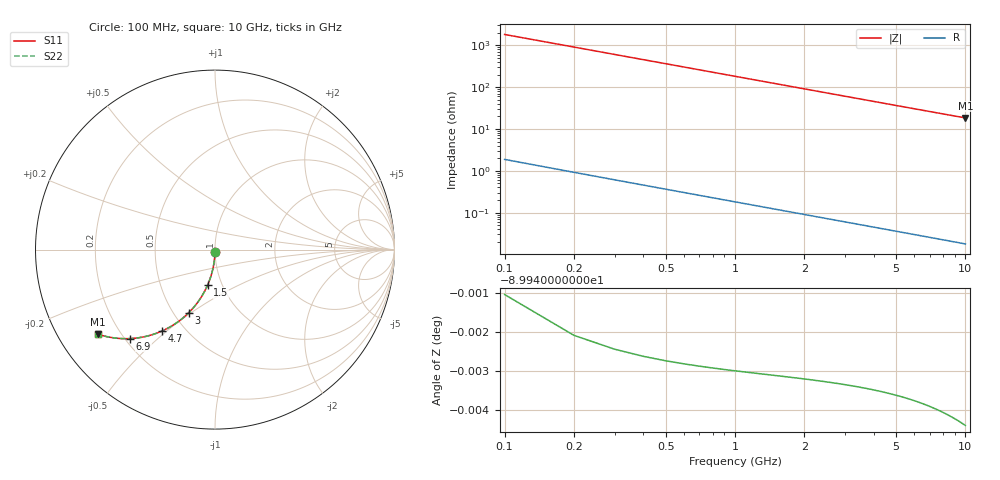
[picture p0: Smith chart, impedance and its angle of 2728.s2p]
# Hz S RI R 50.00
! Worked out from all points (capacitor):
!   100 points, 100 MHz to 10 GHz, reference 50 ohm
!   read as one part in shunt: C = 875 fF near 100 MHz
!   lowest |Z| = 18.4 ohm at 10 GHz (marker M1)
!   S11 on the Smith chart (normalised r, x): 100 MHz: 1.00, -0.03; 1.5 GHz: 0.85, -0.35; 3 GHz: 0.60, -0.49; 4.7 GHz: 0.38, -0.48; 6.9 GHz: 0.22, -0.41; 10 GHz: 0.12, -0.32
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1e8  -0.000184 -0.0137  0.9998 -0.0138  0.9998 -0.0138  -0.000184 -0.0137
2e8  -0.000764 -0.0274  0.9992 -0.0276  0.9992 -0.0276  -0.000764 -0.0274
3e8  -0.00172 -0.041  0.9982 -0.0413  0.9982 -0.0413  -0.00172 -0.041
4e8  -0.00305 -0.0546  0.9969 -0.055  0.9969 -0.055  -0.00305 -0.0546
5e8  -0.00475 -0.0682  0.9952 -0.0686  0.9952 -0.0686  -0.00475 -0.0682
6e8  -0.00682 -0.0816  0.9931 -0.0822  0.9931 -0.0822  -0.00682 -0.0816
7e8  -0.00925 -0.095  0.9907 -0.0956  0.9907 -0.0956  -0.00925 -0.095
9e8  -0.0152 -0.1214  0.9848 -0.1222  0.9848 -0.1222  -0.0152 -0.1214
1.2e9  -0.0266 -0.16  0.9733 -0.161  0.9733 -0.161  -0.0266 -0.16
1.5e9  -0.0409 -0.197  0.959 -0.1983  0.959 -0.1983  -0.0409 -0.197
1.8e9  -0.0578 -0.2322  0.9421 -0.2337  0.9421 -0.2337  -0.0578 -0.2322
2.4e9  -0.0982 -0.2961  0.9017 -0.2982  0.9017 -0.2982  -0.0982 -0.2961
3e9  -0.1453 -0.3506  0.8546 -0.3533  0.8546 -0.3533  -0.1453 -0.3506
3.4e9  -0.1791 -0.3815  0.8208 -0.3845  0.8208 -0.3845  -0.1791 -0.3815
4e9  -0.2318 -0.4197  0.7682 -0.4232  0.7682 -0.4232  -0.2318 -0.4197
4.7e9  -0.2938 -0.453  0.7061 -0.4571  0.7061 -0.4571  -0.2938 -0.453
5.1e9  -0.3287 -0.467  0.6713 -0.4715  0.6713 -0.4715  -0.3287 -0.467
5.9e9  -0.3956 -0.4859  0.6044 -0.4911  0.6044 -0.4911  -0.3956 -0.4859
6.7e9  -0.4574 -0.4947  0.5425 -0.5007  0.5425 -0.5007  -0.4574 -0.4947
6.9e9  -0.472 -0.4957  0.5279 -0.5018  0.5279 -0.5018  -0.472 -0.4957
8.4e9  -0.5694 -0.4909  0.4305 -0.4984  0.4305 -0.4984  -0.5694 -0.4909
1e10  -0.6517 -0.4714  0.3482 -0.4804  0.3482 -0.4804  -0.6517 -0.4714
